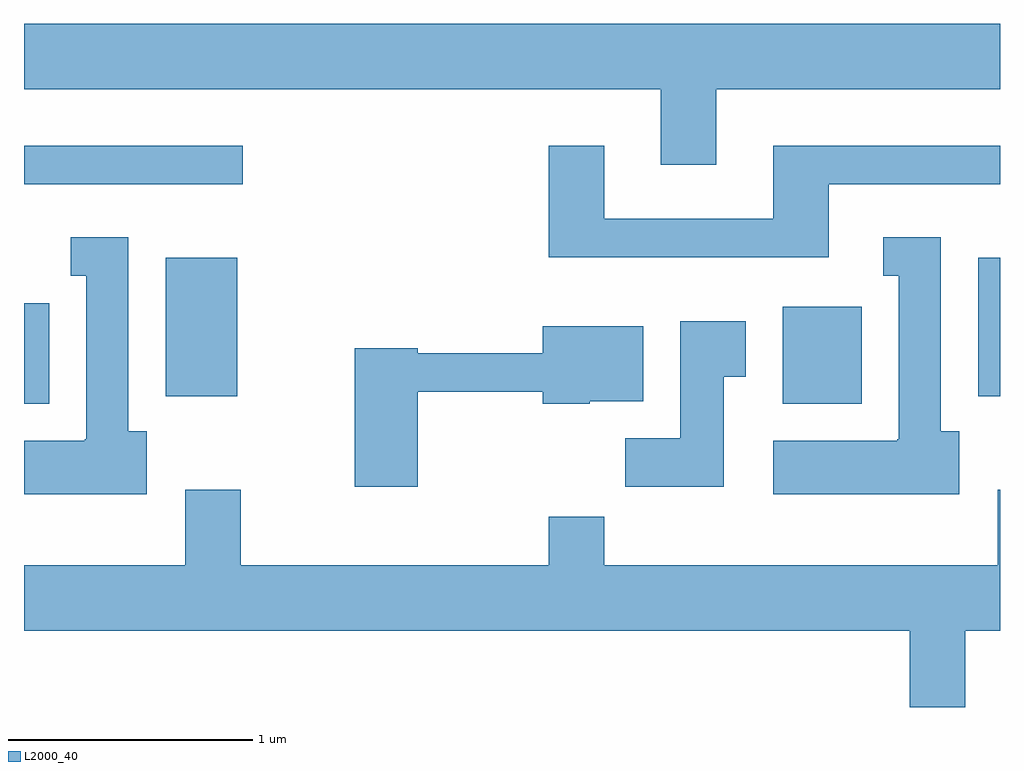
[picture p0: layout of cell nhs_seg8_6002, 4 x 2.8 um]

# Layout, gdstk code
import gdstk
lib = gdstk.Library(unit=1e-6, precision=1e-09)
def R(c, l, rs):  # rectangles x0, y0, x1, y1
    for r in rs: c.add(gdstk.rectangle(r[:2], r[2:], *l))
def P(c, l, *ps):  # polygons
    for p in ps: c.add(gdstk.Polygon(p, *l))
L2000_40 = (2000, 40)

nhs_seg8_6002 = lib.new_cell('nhs_seg8_6002')
R(nhs_seg8_6002, L2000_40, [(365.611,1819.586,365.714,1819.999), (368.721,1819.586,369.044,1819.984), (366.191,1819.616,366.484,1820.184), (369.521,1819.616,369.611,1820.184), (365.611,1820.486,366.508,1820.644)])
P(nhs_seg8_6002, L2000_40, [(368.449,1820.876),(369.611,1820.876),(369.611,1821.144),(365.611,1821.144),(365.611,1820.876),(368.221,1820.876),(368.221,1820.566),(368.449,1820.566)],
  [(368.909,1820.486),(369.611,1820.486),(369.611,1820.644),(368.681,1820.644),(368.681,1820.344),(367.989,1820.344),(367.989,1820.644),(367.761,1820.644),(367.761,1820.186),(368.909,1820.186)],
  [(366.114,1819.474),(366.039,1819.474),(366.039,1820.269),(365.803,1820.269),(365.803,1820.111),(365.866,1820.111),(365.866,1819.44),(365.86,1819.44),(365.86,1819.434),(365.611,1819.434),(365.611,1819.216),(366.114,1819.216)],
  [(369.444,1819.474),(369.369,1819.474),(369.369,1820.269),(369.133,1820.269),(369.133,1820.111),(369.196,1820.111),(369.196,1819.44),(369.19,1819.44),(369.19,1819.434),(368.681,1819.434),(368.681,1819.216),(369.444,1819.216)],
  [(368.479,1819.696),(368.569,1819.696),(368.569,1819.924),(368.301,1819.924),(368.301,1819.444),(368.076,1819.444),(368.076,1819.246),(368.479,1819.246)],
  [(367.224,1819.636),(367.736,1819.636),(367.736,1819.586),(367.93,1819.586),(367.93,1819.596),(368.149,1819.596),(368.149,1819.904),(367.736,1819.904),(367.736,1819.794),(367.224,1819.794),(367.224,1819.814),(366.966,1819.814),(366.966,1819.246),(367.224,1819.246)],
  [(369.469,1818.656),(369.611,1818.656),(369.611,1819.234),(369.601,1819.234),(369.601,1818.924),(367.989,1818.924),(367.989,1819.124),(367.761,1819.124),(367.761,1818.924),(366.499,1818.924),(366.499,1819.234),(366.271,1819.234),(366.271,1818.924),(365.611,1818.924),(365.611,1818.656),(369.241,1818.656),(369.241,1818.342),(369.469,1818.342)])

lib.write_gds('nhs_seg8_6002.gds')
